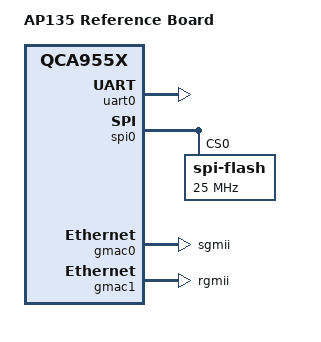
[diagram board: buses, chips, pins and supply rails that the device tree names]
// SPDX-License-Identifier: GPL-2.0+
/*
 * Copyright (C) 2026 2026 admin@yuzhii0718.eu.org
 *
 * AP135 Reference Board
 * QCA9558 SoC with 2 GMACs (GE0: SGMII/S17 switch, GE1: RGMII)
 */

/dts-v1/;
#include "qca955x.dtsi"

/ {
	model = "AP135 Reference Board";
	compatible = "qca,ap135", "qca,qca955x";

	aliases {
		spi0 = &spi0;
		serial0 = &uart0;
	};

	chosen {
		stdout-path = "serial0:115200n8";
	};
};

&xtal {
	clock-frequency = <25000000>;
};

&uart0 {
	clock-frequency = <25000000>;
	status = "okay";
};

&spi0 {
	spi-max-frequency = <25000000>;
	status = "okay";
	spi-flash@0 {
		#address-cells = <1>;
		#size-cells = <1>;
		compatible = "spi-flash";
		memory-map = <0x9f000000 0x01000000>;
		spi-max-frequency = <25000000>;
		reg = <0>;
	};
};

&gmac0 {
	phy-mode = "sgmii";
	status = "okay";
};

&gmac1 {
	phy-mode = "rgmii";
	status = "okay";
};
